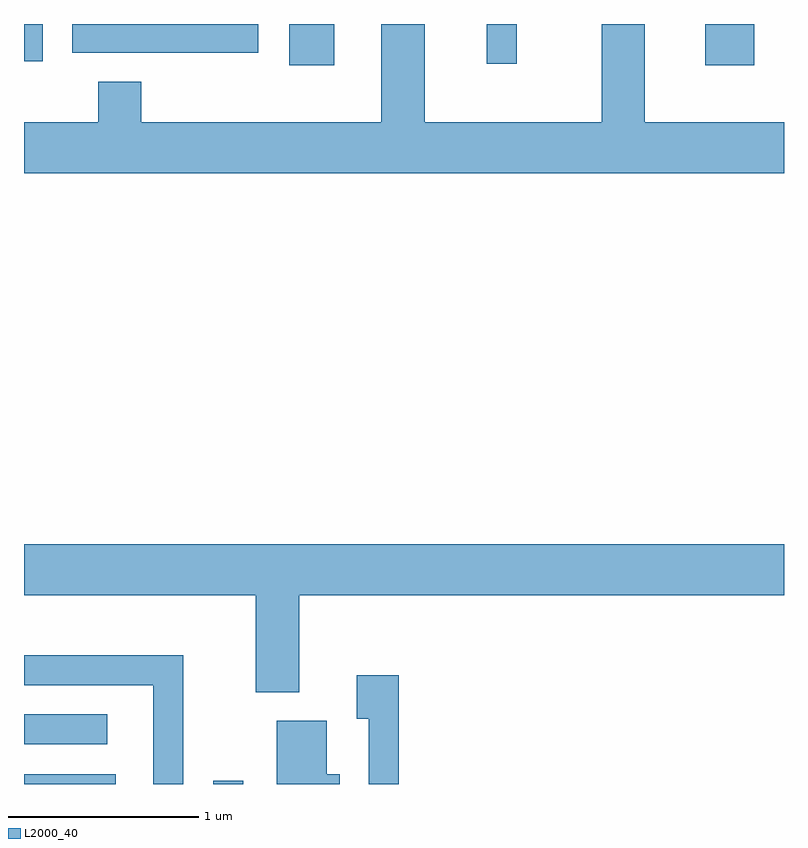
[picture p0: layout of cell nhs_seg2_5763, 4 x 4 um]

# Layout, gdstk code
import gdstk
lib = gdstk.Library(unit=1e-6, precision=1e-09)
def R(c, l, rs):  # rectangles x0, y0, x1, y1
    for r in rs: c.add(gdstk.rectangle(r[:2], r[2:], *l))
def P(c, l, *ps):  # polygons
    for p in ps: c.add(gdstk.Polygon(p, *l))
L2000_40 = (2000, 40)

nhs_seg2_5763 = lib.new_cell('nhs_seg2_5763')
R(nhs_seg2_5763, L2000_40, [(355.611,1011.802,356.094,1011.854), (356.606,1011.802,356.764,1011.818), (355.611,1012.011,356.048,1012.169), (357.006,1015.586,357.244,1015.802), (359.196,1015.586,359.454,1015.802), (358.046,1015.593,358.204,1015.802), (355.611,1015.606,355.709,1015.802), (355.866,1015.651,356.844,1015.802)])
P(nhs_seg2_5763, L2000_40, [(359.611,1015.284),(358.879,1015.284),(358.879,1015.802),(358.651,1015.802),(358.651,1015.284),(357.719,1015.284),(357.719,1015.802),(357.491,1015.802),(357.491,1015.284),(356.229,1015.284),(356.229,1015.499),(356.001,1015.499),(356.001,1015.284),(355.611,1015.284),(355.611,1015.016),(359.611,1015.016)],
  [(357.059,1012.796),(359.611,1012.796),(359.611,1013.064),(355.611,1013.064),(355.611,1012.796),(356.831,1012.796),(356.831,1012.286),(357.059,1012.286)],
  [(356.449,1012.479),(355.611,1012.479),(355.611,1012.321),(356.291,1012.321),(356.291,1011.802),(356.449,1011.802)],
  [(357.584,1012.374),(357.361,1012.374),(357.361,1012.146),(357.426,1012.146),(357.426,1011.802),(357.584,1011.802)],
  [(357.274,1011.854),(357.204,1011.854),(357.204,1012.134),(356.941,1012.134),(356.941,1011.802),(357.274,1011.802)])

lib.write_gds('nhs_seg2_5763.gds')
